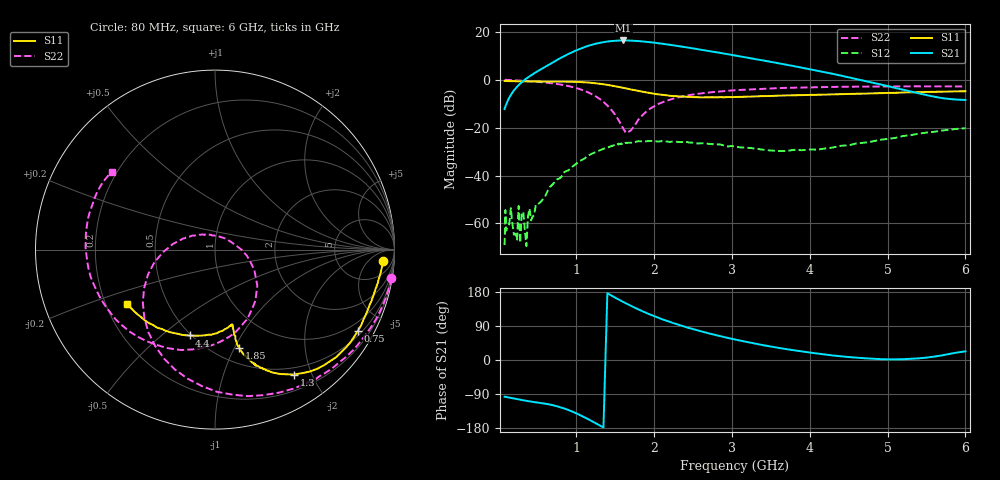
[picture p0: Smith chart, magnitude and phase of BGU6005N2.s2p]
! BGU6005N2, Vcc=2.85V, Icc= 5.1900 mA
# MHz S MA R 50
!  Freq-MHz  S11-mag  S11-arg  S21-mag  S21-arg  S12-mag  S12-arg  S22-mag  S22-arg
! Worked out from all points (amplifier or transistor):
!   130 points, 80 MHz to 6 GHz, reference 50 ohm
!   highest |S21| = 16.4 dB at 1.605 GHz (marker M1)
!   |S21| within 3 dB of that: 1.089 GHz to 2.443 GHz (1.354 GHz wide, 76.7 % of centre)
!   unconditionally stable (mu >= 1): start of sweep to 88.09 MHz; 91.61 MHz to end of sweep
!   at 480 MHz: K = 4.08, MAG = 18.6 dB, |S12| = -52.3 dB
!   at 1.615 GHz: K = 1.08, MAG = 19.8 dB, |S12| = -26.5 dB
!   at 6 GHz: K = 4.47, MAG = -3.6 dB, |S12| = -20.2 dB
!   lowest NFmin = 0.78 dB at 2.1 GHz
!   S11 on the Smith chart (normalised r, x): 80 MHz: 14, -16; 750 MHz: 0.66, -3.69; 1.3 GHz: 0.40, -1.75; 1.85 GHz: 0.65, -1.04; 4.4 GHz: 0.49, -0.62; 6 GHz: 0.29, -0.26
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80  0.9401 -4.0  0.2437 -97.0  0.0003539 -58.7  0.9956 -9.1
90  0.9408 -4.3  0.2747 -97.6  0.0019 169.5  0.9962 -10.3
100  0.9391 -4.7  0.3023 -97.1  0.0007057 -141.4  0.9942 -11.3
240  0.9273 -10.0  0.7113 -103.0  0.0004584 -49.5  0.9701 -26.8
260  0.9259 -10.8  0.768 -103.9  0.002317 148.5  0.9652 -28.9
280  0.9264 -11.5  0.8288 -104.8  0.0003936 -124.4  0.9606 -31.1
320  0.9233 -13.0  0.9437 -106.3  0.00174 -146.8  0.9533 -35.5
360  0.921 -14.4  1.059 -107.8  0.0003347 120.5  0.9422 -39.8
400  0.9193 -15.8  1.176 -109.0  0.002036 151.4  0.9313 -44.2
750  0.9161 -29.5  2.566 -121.9  0.008213 -172.8  0.8137 -83.2
1100  0.8851 -46.7  4.747 -150.5  0.02222 159.6  0.5917 -128.8
1300  0.824 -57.6  5.872 -172.6  0.03336 138.8  0.3986 -159.6
1450  0.7565 -64.9  6.41 170.2  0.04088 123.4  0.2364 172.3
1605  0.6787 -70.7  6.6 153.1  0.04636 109.5  0.09518 118.0
1850  0.5623 -76.1  6.296 128.7  0.05165 90.1  0.1815 -11.0
2100  0.4849 -77.4  5.657 107.9  0.05213 75.2  0.3332 -46.2
2550  0.4321 -76.9  4.366 78.6  0.04677 57.0  0.5036 -83.9
3100  0.4391 -80.2  3.086 51.5  0.03874 48.8  0.6115 -116.4
4100  0.4854 -99.1  1.54 17.0  0.0347 73.0  0.697 -160.0
4400  0.4991 -106.5  1.218 9.7  0.04176 78.8  0.7125 -171.0
5100  0.5326 -124.0  0.6728 1.8  0.06092 84.1  0.7281 166.7
6000  0.5754 -148.2  0.3781 22.8  0.09731 74.5  0.7211 143.1
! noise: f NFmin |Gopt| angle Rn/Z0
1000  0.7977  0.4017  34.76  0.1991
1250  0.8242  0.386  39.91  0.1768
1505  0.7956  0.3589  45.64  0.1681
1535  0.8204  0.3728  45.24  0.1711
1560  0.8402  0.3854  46.36  0.1769
1590  0.8413  0.3394  44.11  0.1696
1620  0.8213  0.3465  48.27  0.1645
1645  0.8183  0.3553  49.78  0.1605
1900  0.8432  0.3406  52.16  0.1632
2200  0.86  0.3144  60.13  0.16
